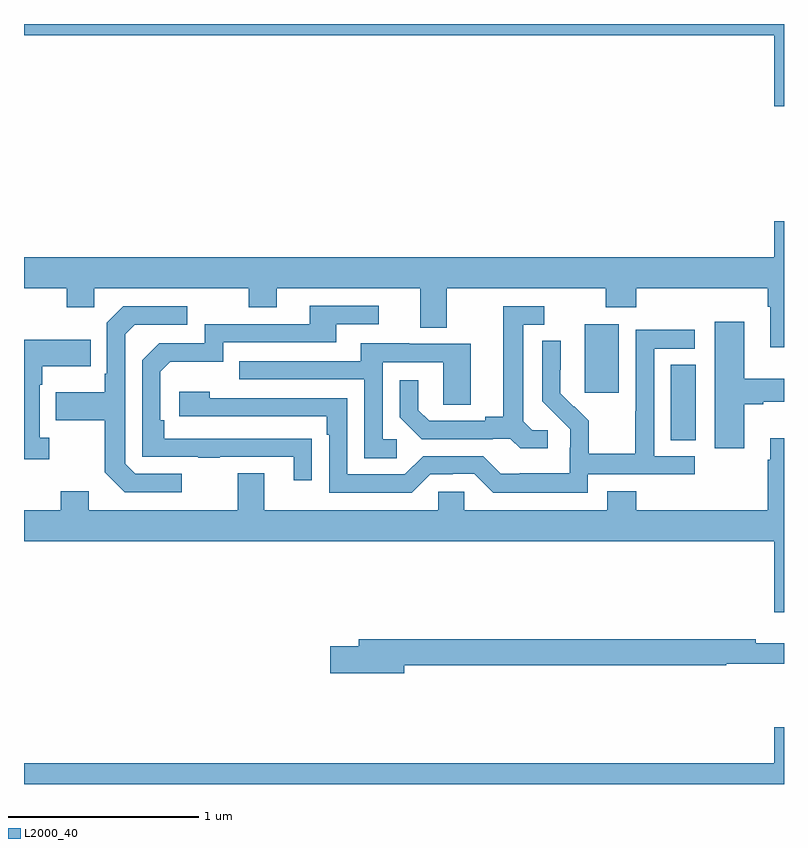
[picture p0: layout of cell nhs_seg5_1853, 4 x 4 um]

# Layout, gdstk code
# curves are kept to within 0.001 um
import gdstk
lib = gdstk.Library(unit=1e-6, precision=1e-09)
def R(c, l, rs):  # rectangles x0, y0, x1, y1
    for r in rs: c.add(gdstk.rectangle(r[:2], r[2:], *l))
def P(c, l, *ps):  # polygons
    for p in ps: c.add(gdstk.Polygon(p, *l))
L2000_40 = (2000, 40)

nhs_seg5_1853 = lib.new_cell('nhs_seg5_1853')
R(nhs_seg5_1853, L2000_40, [(224.405,874.609,224.536,875.006), (223.952,874.857,224.131,875.218)])
P(nhs_seg5_1853, L2000_40, [(225,876.799),(221,876.799),(221,876.74),(224.948,876.74),(224.948,876.366),(225,876.366)],
  [(225,875.761),(224.948,875.761),(224.948,875.572),(221,875.572),(221,875.408),(221.224,875.408),(221.224,875.309),(221.37,875.309),(221.37,875.408),(222.184,875.408),(222.184,875.309),(222.331,875.309),(222.331,875.408),(223.085,875.408),(223.085,875.2),(223.225,875.2),(223.225,875.408),(224.062,875.408),(224.062,875.309),(224.222,875.309),(224.222,875.408),(224.915,875.408),(224.915,875.312),(224.927,875.312),(224.927,875.097),(225,875.097)],
  [(222.515,874.616),(221.738,874.617),(221.738,874.714),(221.718,874.714),(221.718,874.968),(221.771,875.021),(222.048,875.021),(222.048,875.124),(222.643,875.124),(222.643,875.22),(222.868,875.22),(222.868,875.316),(222.503,875.316),(222.503,875.22),(221.952,875.22),(221.952,875.118),(221.712,875.118),(221.622,875.028),(221.622,874.521),(221.917,874.521),(221.917,874.516),(222.029,874.516),(222.029,874.521),(222.419,874.521),(222.419,874.398),(222.515,874.398)],
  [(221.83,874.431),(221.586,874.431),(221.532,874.485),(221.532,875.166),(221.583,875.217),(221.86,875.217),(221.86,875.313),(221.523,875.313),(221.436,875.226),(221.436,874.957),(221.424,874.957),(221.424,874.861),(221.167,874.861),(221.167,874.714),(221.424,874.714),(221.424,874.441),(221.529,874.335),(221.83,874.335)],
  [(223.756,874.662),(223.674,874.662),(223.627,874.709),(223.627,875.217),(223.738,875.217),(223.738,875.313),(223.523,875.313),(223.523,874.733),(223.427,874.733),(223.427,874.71),(223.132,874.71),(223.075,874.767),(223.075,874.924),(222.978,874.924),(222.978,874.73),(223.094,874.614),(223.466,874.614),(223.466,874.617),(223.56,874.617),(223.612,874.565),(223.756,874.565)],
  [(224.791,874.799),(224.891,874.799),(224.891,874.811),(225,874.811),(225,874.933),(224.791,874.933),(224.791,875.233),(224.636,875.233),(224.636,874.566),(224.791,874.566)],
  [(223.968,874.428),(224.53,874.428),(224.53,874.524),(224.316,874.524),(224.316,875.091),(224.53,875.091),(224.53,875.19),(224.22,875.19),(224.22,874.76),(224.218,874.76),(224.218,874.537),(223.973,874.537),(223.973,874.711),(223.896,874.788),(223.893,874.785),(223.823,874.856),(223.824,875.132),(223.728,875.132),(223.728,874.814),(223.874,874.666),(223.874,874.569),(223.872,874.569),(223.872,874.435),(223.609,874.435),(223.609,874.431),(223.509,874.431),(223.416,874.524),(223.101,874.524),(223.005,874.428),(222.702,874.428),(222.702,874.83),(221.978,874.83),(221.978,874.864),(221.817,874.864),(221.817,874.734),(222.593,874.734),(222.593,874.637),(222.606,874.637),(222.606,874.332),(223.041,874.332),(223.137,874.428),(223.256,874.428),(223.256,874.431),(223.371,874.431),(223.471,874.331),(223.968,874.331)],
  [(221.134,874.622),(221.082,874.622),(221.082,874.901),(221.095,874.901),(221.095,874.997),(221.351,874.997),(221.351,875.137),(221,875.137),(221,874.509),(221.134,874.509)],
  [(222.961,874.614),(222.888,874.614),(222.888,875.019),(223.206,875.019),(223.206,874.795),(223.351,874.795),(223.351,875.115),(223.027,875.115),(223.027,875.119),(222.773,875.119),(222.773,875.025),(222.133,875.025),(222.133,874.929),(222.792,874.929),(222.792,874.513),(222.961,874.513)],
  [(225,874.618),(224.927,874.618),(224.927,874.505),(224.915,874.505),(224.915,874.24),(224.222,874.24),(224.222,874.339),(224.069,874.339),(224.069,874.24),(223.317,874.24),(223.317,874.338),(223.179,874.338),(223.179,874.24),(222.265,874.24),(222.265,874.435),(222.125,874.435),(222.125,874.24),(221.341,874.24),(221.341,874.339),(221.194,874.339),(221.194,874.24),(221,874.24),(221,874.076),(224.948,874.076),(224.948,873.702),(225,873.702)],
  [(223,873.424),(224.696,873.424),(224.696,873.432),(225,873.432),(225,873.541),(224.852,873.541),(224.852,873.56),(222.761,873.56),(222.761,873.524),(222.612,873.524),(222.612,873.382),(223,873.382)],
  [(221,872.799),(225,872.799),(225,873.097),(224.948,873.097),(224.948,872.908),(221,872.908)])

lib.write_gds('nhs_seg5_1853.gds')
